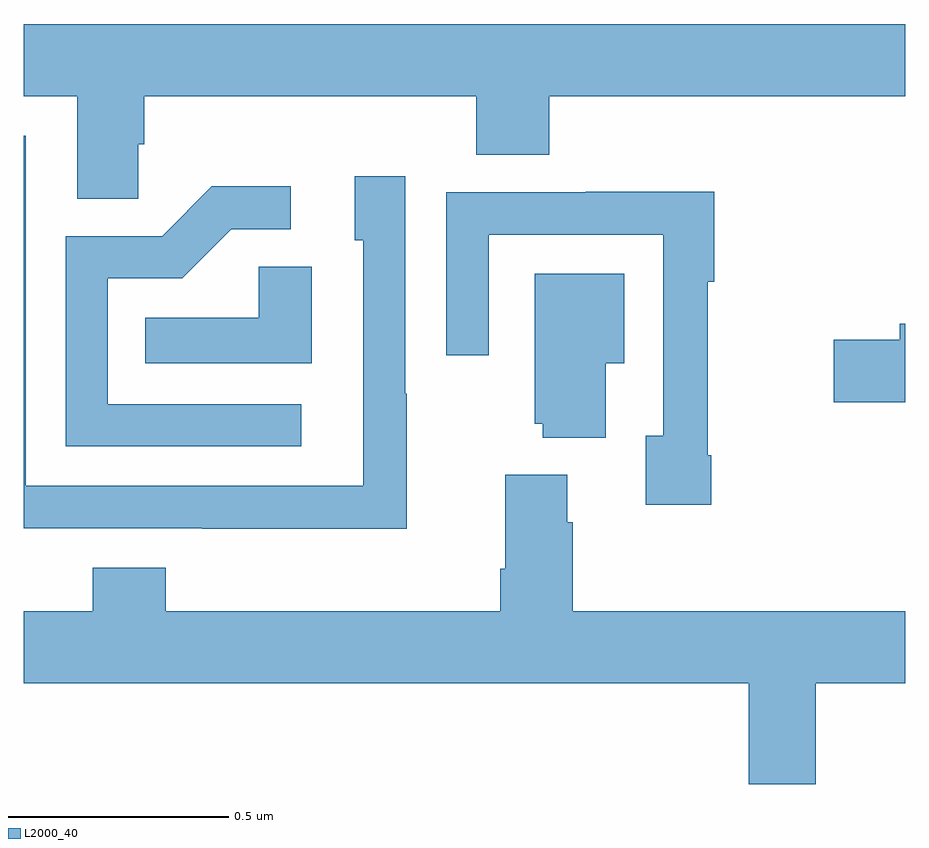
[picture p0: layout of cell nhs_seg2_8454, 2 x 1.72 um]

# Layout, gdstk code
import gdstk
lib = gdstk.Library(unit=1e-6, precision=1e-09)
def P(c, l, *ps):  # polygons
    for p in ps: c.add(gdstk.Polygon(p, *l))
L2000_40 = (2000, 40)

nhs_seg2_8454 = lib.new_cell('nhs_seg2_8454')
P(nhs_seg2_8454, L2000_40, [(217.26,590.251),(217.274,590.251),(217.274,590.36),(218.027,590.36),(218.027,590.227),(218.192,590.227),(218.192,590.36),(219,590.36),(219,590.524),(217,590.524),(217,590.36),(217.121,590.36),(217.121,590.128),(217.26,590.128)],
  [(217.869,589.685),(217.866,589.685),(217.866,590.179),(217.751,590.179),(217.751,590.034),(217.77,590.034),(217.77,589.476),(217.005,589.476),(217.005,590.271),(217,590.271),(217,589.38),(217.405,589.38),(217.405,589.379),(217.869,589.379)],
  [(217.63,589.662),(217.191,589.662),(217.191,589.947),(217.36,589.947),(217.471,590.058),(217.606,590.058),(217.606,590.156),(217.427,590.156),(217.314,590.043),(217.095,590.043),(217.095,589.566),(217.63,589.566)],
  [(218.56,589.546),(218.552,589.546),(218.552,589.939),(218.567,589.939),(218.567,590.144),(218.275,590.144),(218.275,590.142),(217.959,590.142),(217.959,589.773),(218.055,589.773),(218.055,590.046),(218.451,590.046),(218.451,589.59),(218.411,589.59),(218.411,589.434),(218.56,589.434)],
  [(217.654,589.973),(217.533,589.973),(217.533,589.858),(217.276,589.858),(217.276,589.754),(217.654,589.754)],
  [(218.32,589.754),(218.362,589.754),(218.362,589.957),(218.159,589.957),(218.159,589.617),(218.177,589.617),(218.177,589.586),(218.32,589.586)],
  [(219,589.844),(218.987,589.844),(218.987,589.808),(218.838,589.808),(218.838,589.666),(219,589.666)],
  [(218.797,589.028),(219,589.028),(219,589.192),(218.246,589.192),(218.246,589.394),(218.233,589.394),(218.233,589.501),(218.093,589.501),(218.093,589.288),(218.081,589.288),(218.081,589.192),(217.322,589.192),(217.322,589.291),(217.157,589.291),(217.157,589.192),(217,589.192),(217,589.028),(218.645,589.028),(218.645,588.8),(218.797,588.8)])

lib.write_gds('nhs_seg2_8454.gds')
